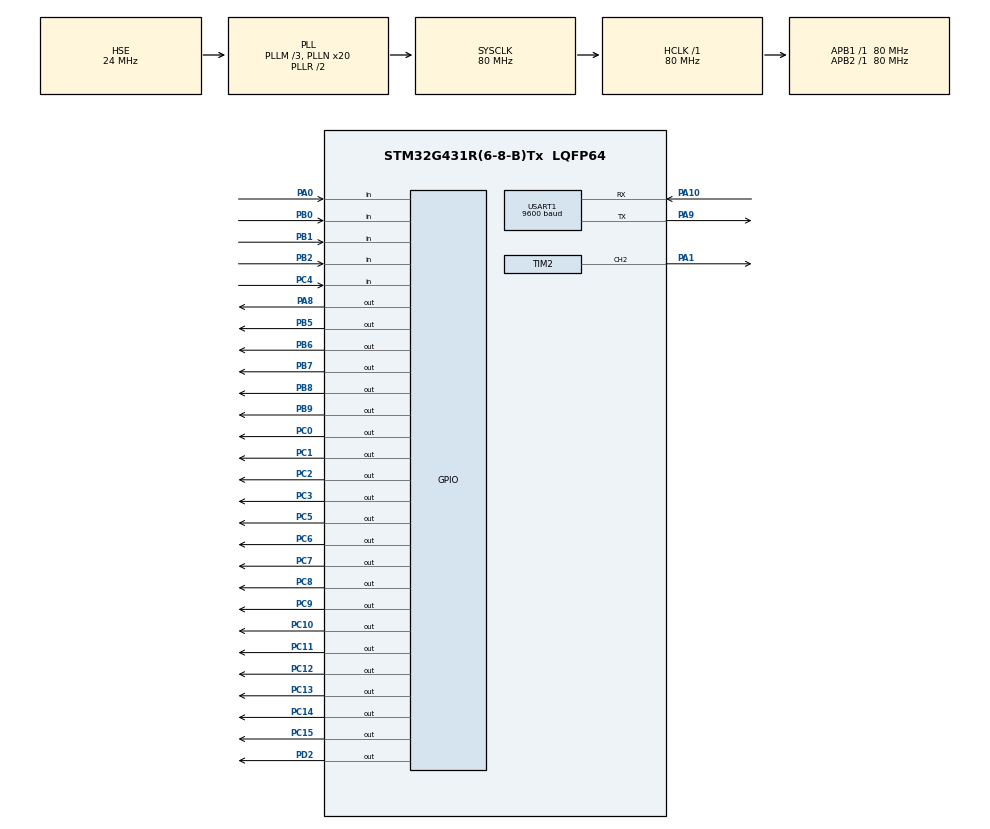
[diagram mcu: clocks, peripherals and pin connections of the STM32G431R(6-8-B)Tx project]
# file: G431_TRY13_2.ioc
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Mcu.Family=STM32G4
Mcu.Name=STM32G431R(6-8-B)Tx
Mcu.Package=LQFP64
NVIC.PriorityGroup=NVIC_PRIORITYGROUP_4
NVIC.TIM6_DAC_IRQn=true\:0\:0\:false\:false\:true\:true\:true
NVIC.USART1_IRQn=true\:0\:0\:false\:false\:true\:true\:true
PA0.GPIO_Mode=GPIO_MODE_INPUT
PA0.GPIO_PuPd=GPIO_PULLUP
PA0.Signal=GPIO_Input
PA1.Signal=S_TIM2_CH2
PA10.Mode=Asynchronous
PA10.Signal=USART1_RX
PA13.Mode=Serial_Wire
PA13.Signal=SYS_JTMS-SWDIO
PA14.Mode=Serial_Wire
PA14.Signal=SYS_JTCK-SWCLK
PA8.Signal=GPIO_Output
PA9.Mode=Asynchronous
PA9.Signal=USART1_TX
PB0.GPIO_Mode=GPIO_MODE_INPUT
PB0.GPIO_PuPd=GPIO_PULLUP
PB0.Signal=GPIO_Input
PB1.GPIO_Mode=GPIO_MODE_INPUT
PB1.GPIO_PuPd=GPIO_PULLUP
PB1.Signal=GPIO_Input
PB2.GPIO_Mode=GPIO_MODE_INPUT
PB2.GPIO_PuPd=GPIO_PULLUP
PB2.Signal=GPIO_Input
PB5.Signal=GPIO_Output
PB6.Signal=GPIO_Output
PB7.Signal=GPIO_Output
PB8-BOOT0.Signal=GPIO_Output
PB9.Signal=GPIO_Output
PC0.Signal=GPIO_Output
PC1.Signal=GPIO_Output
PC10.Signal=GPIO_Output
PC11.Signal=GPIO_Output
PC12.Signal=GPIO_Output
PC13.Signal=GPIO_Output
PC14-OSC32_IN.Signal=GPIO_Output
PC15-OSC32_OUT.Signal=GPIO_Output
PC2.Signal=GPIO_Output
PC3.Signal=GPIO_Output
PC4.Signal=GPIO_Input
PC5.Signal=GPIO_Output
PC6.Signal=GPIO_Output
PC7.Signal=GPIO_Output
PC8.Signal=GPIO_Output
PC9.Signal=GPIO_Output
PD2.Signal=GPIO_Output
PF0-OSC_IN.Mode=HSE-External-Oscillator
PF0-OSC_IN.Signal=RCC_OSC_IN
PF1-OSC_OUT.Mode=HSE-External-Oscillator
PF1-OSC_OUT.Signal=RCC_OSC_OUT
ProjectManager.HeapSize=0x200
ProjectManager.StackSize=0x400
ProjectManager.TargetToolchain=MDK-ARM V5
RCC.ADC12Freq_Value=80000000
RCC.AHBFreq_Value=80000000
RCC.APB1Freq_Value=80000000
RCC.APB1TimFreq_Value=80000000
RCC.APB2Freq_Value=80000000
RCC.APB2TimFreq_Value=80000000
RCC.CortexFreq_Value=80000000
RCC.EXTERNAL_CLOCK_VALUE=12288000
RCC.HCLKFreq_Value=80000000
RCC.HSE_VALUE=24000000
RCC.HSI48_VALUE=48000000
RCC.HSI_VALUE=16000000
RCC.LSE_VALUE=32768
RCC.PLLM=RCC_PLLM_DIV3
RCC.PLLN=20
RCC.PLLSourceVirtual=RCC_PLLSOURCE_HSE
RCC.SYSCLKFreq_VALUE=80000000
RCC.SYSCLKSource=RCC_SYSCLKSOURCE_PLLCLK
RCC.USBFreq_Value=80000000
RCC.VCOOutputFreq_Value=160000000
SH.S_TIM2_CH2.0=TIM2_CH2,PWM Generation2 CH2
TIM2.Channel-PWM\ Generation2\ CH2=TIM_CHANNEL_2
TIM2.PeriodNoDither=500-1
TIM2.Prescaler=80-1
TIM6.PeriodNoDither=1000-1
TIM6.Prescaler=800-1
USART1.BaudRate=9600
USART1.VirtualMode-Asynchronous=VM_ASYNC
USART1.WordLength=WORDLENGTH_8B
VP_SYS_VS_DBSignals.Mode=DisableDeadBatterySignals
VP_TIM6_VS_ClockSourceINT.Mode=Enable_Timer
board=custom

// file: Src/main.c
/* USER CODE BEGIN Header */
/**
  ******************************************************************************
  * @file           : main.c
  * @brief          : Main program body
  ******************************************************************************
  * @attention
  *
  * <h2><center>&copy; Copyright (c) 2023 STMicroelectronics.
  * All rights reserved.</center></h2>
  *
  * This software component is licensed by ST under BSD 3-Clause license,
  * the "License"; You may not use this file except in compliance with the
  * License. You may obtain a copy of the License at:
  *                        opensource.org/licenses/BSD-3-Clause
  *
  ******************************************************************************
  */
/* USER CODE END Header */

#include "main.h"
#include "tim.h"
#include "usart.h"
#include "gpio.h"

/* USER CODE BEGIN Includes */
#include "lcd.h"
#include "i2c_hal.h"
#include "mint.h"
#include "stdio.h"
#include "string.h"

/* USER CODE END Includes */

/* USER CODE BEGIN PV */
extern struct keys key[4];
extern unsigned char rxdat;

uint8_t page=0;
uint8_t Buy_X=0,Buy_Y=0,Num_X=10,Num_Y=10;
double Money_X=1.0,Money_Y=1.0;

char text[30],text_uart[20];

int time_led1=0,time_led2=0;

uint8_t flag=0,flag2 = 0;

/* USER CODE END PV */

void SystemClock_Config(void);
/* USER CODE BEGIN PFP */
void LCD_Proc(void);
void KEY_Proc(void);

/* USER CODE END PFP */

int main(void)
{

  /* MCU Configuration--------------------------------------------------------*/

  /* Reset of all peripherals, Initializes the Flash interface and the Systick. */
  HAL_Init();

  /* Configure the system clock */
  SystemClock_Config();

  /* Initialize all configured peripherals */
  MX_GPIO_Init();
  MX_TIM6_Init();
  MX_USART1_UART_Init();
  MX_TIM2_Init();
  /* USER CODE BEGIN 2 */
	HAL_TIM_Base_Start_IT(&htim6);
	//PWM初始化
	HAL_TIM_PWM_Start(&htim2,TIM_CHANNEL_2);
	__HAL_TIM_SetCompare(&htim6,TIM_CHANNEL_2,25);
	//LCD初始化
	LCD_Init();
	LCD_Clear(Black);
	LCD_SetBackColor(Black);
	LCD_SetTextColor(White);
	//初始化灯为灭
	LED_Proc(0x00);
	//开启I2C
	I2CInit();
	//开启串口中断
	HAL_UART_Receive_IT(&huart1,&rxdat,1);
	//存储值不合法，则认为是第一次上电
	Num_X = eeprom_read(0) == 255?10:eeprom_read(0);
	Num_Y = eeprom_read(1) == 255?10:eeprom_read(1);
	Money_X = eeprom_read(2) >20?1:((double)eeprom_read(2))/10;
	Money_Y = eeprom_read(3) >20?1:((double)eeprom_read(3))/10;

  /* USER CODE END 2 */

  /* Infinite loop */
  /* USER CODE BEGIN WHILE */
  while (1)
  {
		LCD_Proc();
		KEY_Proc();

		if(flag == 1 && flag2 == 1) LED_Proc(0x03);
		else if(flag == 0 && flag2 == 1) LED_Proc(0x02);
		else if(flag == 1 && flag2 == 0) LED_Proc(0x01);
		else if(flag == 0 && flag2 == 0) LED_Proc(0x00);

		if(flag == 1) __HAL_TIM_SetCompare(&htim2,TIM_CHANNEL_2,25*6);
		else __HAL_TIM_SetCompare(&htim2,TIM_CHANNEL_2,25);
    /* USER CODE END WHILE */

  }
}

void SystemClock_Config(void)
{
  RCC_OscInitTypeDef RCC_OscInitStruct = {0};
  RCC_ClkInitTypeDef RCC_ClkInitStruct = {0};
  RCC_PeriphCLKInitTypeDef PeriphClkInit = {0};

  /** Configure the main internal regulator output voltage
  */
  HAL_PWREx_ControlVoltageScaling(PWR_REGULATOR_VOLTAGE_SCALE1);
  /** Initializes the CPU, AHB and APB busses clocks
  */
  RCC_OscInitStruct.OscillatorType = RCC_OSCILLATORTYPE_HSE;
  RCC_OscInitStruct.HSEState = RCC_HSE_ON;
  RCC_OscInitStruct.PLL.PLLState = RCC_PLL_ON;
  RCC_OscInitStruct.PLL.PLLSource = RCC_PLLSOURCE_HSE;
  RCC_OscInitStruct.PLL.PLLM = RCC_PLLM_DIV3;
  RCC_OscInitStruct.PLL.PLLN = 20;
  RCC_OscInitStruct.PLL.PLLP = RCC_PLLP_DIV2;
  RCC_OscInitStruct.PLL.PLLQ = RCC_PLLQ_DIV2;
  RCC_OscInitStruct.PLL.PLLR = RCC_PLLR_DIV2;
  if (HAL_RCC_OscConfig(&RCC_OscInitStruct) != HAL_OK)
  {
    Error_Handler();
  }
  /** Initializes the CPU, AHB and APB busses clocks
  */
  RCC_ClkInitStruct.ClockType = RCC_CLOCKTYPE_HCLK|RCC_CLOCKTYPE_SYSCLK
                              |RCC_CLOCKTYPE_PCLK1|RCC_CLOCKTYPE_PCLK2;
  RCC_ClkInitStruct.SYSCLKSource = RCC_SYSCLKSOURCE_PLLCLK;
  RCC_ClkInitStruct.AHBCLKDivider = RCC_SYSCLK_DIV1;
  RCC_ClkInitStruct.APB1CLKDivider = RCC_HCLK_DIV1;
  RCC_ClkInitStruct.APB2CLKDivider = RCC_HCLK_DIV1;

  if (HAL_RCC_ClockConfig(&RCC_ClkInitStruct, FLASH_LATENCY_3) != HAL_OK)
  {
    Error_Handler();
  }
  /** Initializes the peripherals clocks
  */
  PeriphClkInit.PeriphClockSelection = RCC_PERIPHCLK_USART1;
  PeriphClkInit.Usart1ClockSelection = RCC_USART1CLKSOURCE_PCLK2;
  if (HAL_RCCEx_PeriphCLKConfig(&PeriphClkInit) != HAL_OK)
  {
    Error_Handler();
  }
}

/* USER CODE BEGIN 4 */
void LCD_Proc(void)
{
	if(page == 0)
	{
		LCD_DisplayStringLine(Line1,(u8 *)"        SHOP        ");
		sprintf(text,"     X:%d            ",Buy_X);
		LCD_DisplayStringLine(Line3,(u8 *)text);
		sprintf(text,"     Y:%d            ",Buy_Y);
		LCD_DisplayStringLine(Line4,(u8 *)text);
	}
	else if(page == 1)
	{
		LCD_DisplayStringLine(Line1,(u8 *)"        PRICE       ");
		sprintf(text,"     X:%.1f            ",Money_X);
		LCD_DisplayStringLine(Line3,(u8 *)text);
		sprintf(text,"     Y:%.1f            ",Money_Y);
		LCD_DisplayStringLine(Line4,(u8 *)text);
	}
	else if(page == 2)
	{
		LCD_DisplayStringLine(Line1,(u8 *)"        REP         ");
		sprintf(text,"     X:%d            ",Num_X);
		LCD_DisplayStringLine(Line3,(u8 *)text);
		sprintf(text,"     Y:%d            ",Num_Y);
		LCD_DisplayStringLine(Line4,(u8 *)text);
	}
	else page = 0;
}

void KEY_Proc(void)
{
	if(key[0].single_sta == 1)
	{
		page = (page+1)>2?0:(page+1);
		key[0].single_sta = 0;
	}

	if(key[1].single_sta == 1)
	{
		if(page == 0) Buy_X = (Buy_X+1)>Num_X?0:(Buy_X+1);
		else if(page == 1)
		{
			Money_X = (Money_X+0.1)>2.04?1:(Money_X+0.1);
			eeprom_write(2,(unsigned char)(Money_X*10));
		}
		else
		{
			Num_X++;
			eeprom_write(0,(unsigned char)Num_X);
		}
		key[1].single_sta = 0;
	}

	if(key[2].single_sta == 1)
	{
		if(page == 0) Buy_Y = (Buy_Y+1)>Num_Y?0:(Buy_Y+1);
		else if(page == 1)
		{
			Money_Y = (Money_Y+0.1)>2.04?1:(Money_Y+0.1);
			eeprom_write(3,(unsigned char)(Money_Y*10));
		}
		else
		{
			Num_Y++;
			eeprom_write(1,(unsigned char)Num_Y);
		}
		key[2].single_sta = 0;
	}

	if(key[3].single_sta == 1)
	{
		if(page == 0)
		{
			Num_X -= Buy_X;
			Num_Y -= Buy_Y;
			//存储
			if(Buy_X != 0) eeprom_write(0,(unsigned char)Num_X);
			HAL_Delay(10);
			if(Buy_Y != 0) eeprom_write(1,(unsigned char)Num_Y);
			//打印输出
			sprintf(text_uart,"X:%d,Y:%d,Z=%.1f\r\n",Buy_X,Buy_Y,(Buy_X*Money_X+Buy_Y*Money_Y));
			HAL_UART_Transmit(&huart1,(unsigned char *)text_uart,strlen(text_uart),50);
			//购买数量清零
			Buy_X = 0;
			Buy_Y = 0;
			//亮灯、PWM输出标志位置一
			flag = 1;
		}
		key[3].single_sta = 0;
	}
}

void LED_Proc(unsigned char pin)
{
	HAL_GPIO_WritePin(GPIOC,GPIO_PIN_All,GPIO_PIN_SET);
	HAL_GPIO_WritePin(GPIOC,pin << 8,GPIO_PIN_RESET);
	HAL_GPIO_WritePin(GPIOD,GPIO_PIN_2,GPIO_PIN_SET);
	HAL_GPIO_WritePin(GPIOD,GPIO_PIN_2,GPIO_PIN_RESET);
}
/* USER CODE END 4 */

void Error_Handler(void)
{
}

/************************ (C) COPYRIGHT STMicroelectronics *****END OF FILE****/
